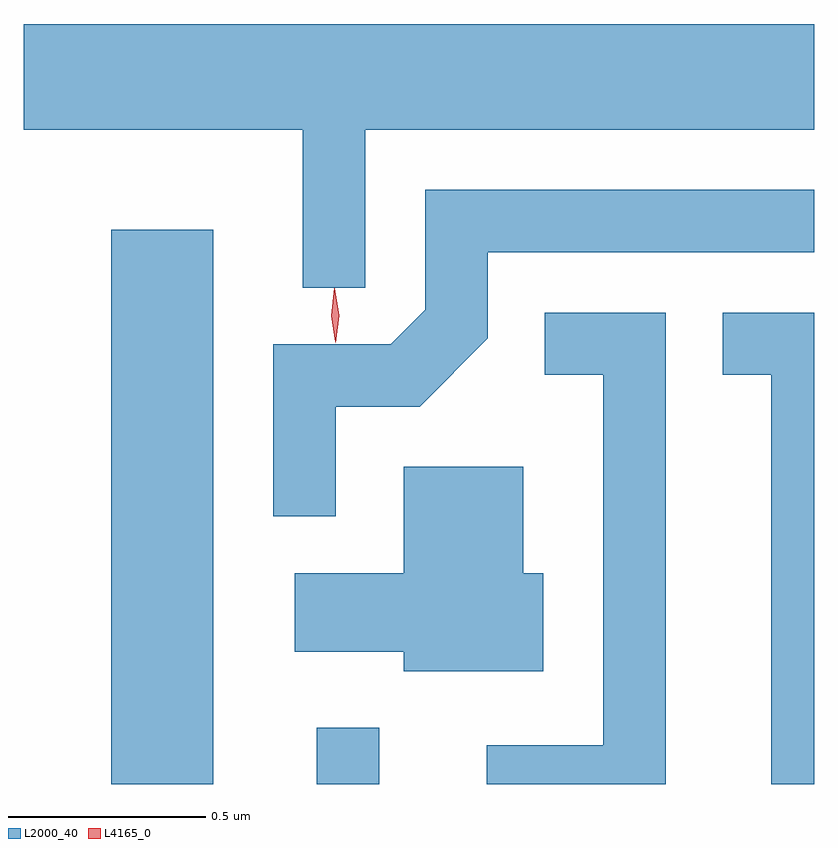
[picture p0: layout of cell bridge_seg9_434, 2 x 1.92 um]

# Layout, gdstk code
import gdstk
lib = gdstk.Library(unit=1e-6, precision=1e-09)
def R(c, l, rs):  # rectangles x0, y0, x1, y1
    for r in rs: c.add(gdstk.rectangle(r[:2], r[2:], *l))
def P(c, l, *ps):  # polygons
    for p in ps: c.add(gdstk.Polygon(p, *l))
L2000_40 = (2000, 40)
L4165_0 = (4165, 0)

bridge_seg9_434 = lib.new_cell('bridge_seg9_434')
R(bridge_seg9_434, L2000_40, [(517.526,2052.321,517.784,2053.724), (518.046,2052.321,518.204,2052.463)])
P(bridge_seg9_434, L2000_40, [(518.169,2053.976),(519.305,2053.976),(519.305,2054.244),(517.305,2054.244),(517.305,2053.976),(518.011,2053.976),(518.011,2053.577),(518.169,2053.577)],
  [(518.094,2053.276),(518.307,2053.276),(518.479,2053.449),(518.479,2053.666),(519.305,2053.666),(519.305,2053.824),(518.321,2053.824),(518.321,2053.521),(518.234,2053.434),(517.936,2053.434),(517.936,2052.998),(518.094,2052.998)],
  [(519.305,2053.514),(519.073,2053.514),(519.073,2053.356),(519.196,2053.356),(519.196,2052.321),(519.305,2052.321)],
  [(518.929,2053.514),(518.623,2053.514),(518.623,2053.356),(518.771,2053.356),(518.771,2052.419),(518.477,2052.419),(518.477,2052.321),(518.929,2052.321)],
  [(518.619,2052.854),(518.569,2052.854),(518.569,2053.124),(518.266,2053.124),(518.266,2052.854),(517.991,2052.854),(517.991,2052.656),(518.266,2052.656),(518.266,2052.606),(518.619,2052.606)])
P(bridge_seg9_434, L4165_0, [(518.094,2053.437),(518.094,2053.437),(518.083,2053.506),(518.091,2053.575),(518.092,2053.576),(518.092,2053.575),(518.103,2053.506),(518.094,2053.437)],
  [(518.094,2053.439),(518.093,2053.44),(518.083,2053.506),(518.091,2053.572),(518.092,2053.572),(518.092,2053.572),(518.103,2053.506),(518.094,2053.44)])

lib.write_gds('bridge_seg9_434.gds')
